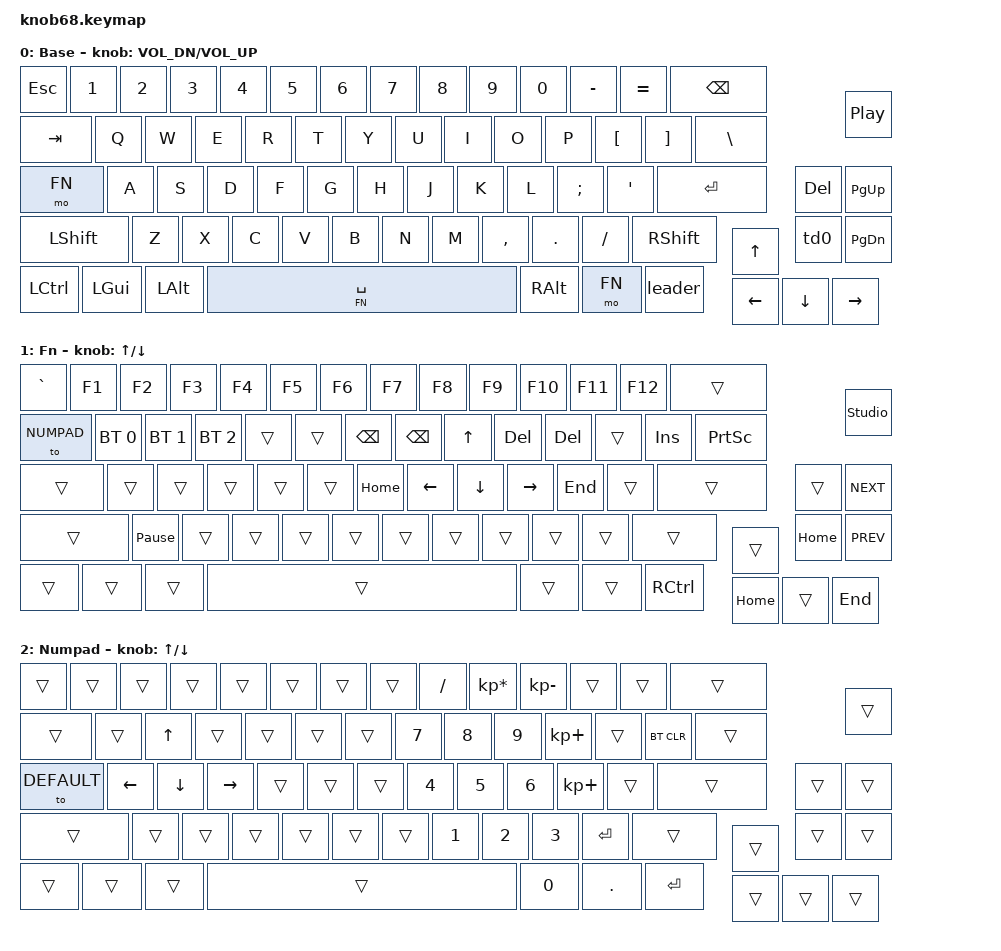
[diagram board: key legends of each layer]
/*
 * Copyright (c) 2020 The ZMK Contributors
 *
 * SPDX-License-Identifier: MIT
 */

#include <behaviors.dtsi>
#include <dt-bindings/zmk/keys.h>
#include <dt-bindings/zmk/bt.h>

#define DEFAULT 0
#define FN      1
#define NUMPAD  2

// SpaceFn: tap space = space, hold space = FN layer. "balanced" decides hold as
// soon as another key is pressed and released; quick-tap keeps space repeating
// on fast double-taps instead of misfiring into the layer.
&lt {
    flavor = "balanced";
    quick-tap-ms = <175>;
};

/ {
    behaviors {
        td0: tap_dance_end_home {
            compatible = "zmk,behavior-tap-dance";
            #binding-cells = <0>;
            tapping-term-ms = <200>;
            bindings = <&kp END>, <&kp HOME>;
        };

        // Leader key (urob/zmk-leader-key module): tap, then type a sequence.
        // RET = presses Enter.
        //   E E   -> types personal email address
        //   E R   -> types work email address
        //   G S   -> git status RET
        //   G C   -> git commit -m "" with the cursor inside the quotes
        //   G P   -> git pull RET
        //   C L   -> claude RET
        //   C C   -> claude --continue RET
        //   R E   -> types "claude --resume" (no Enter, for appending flags)
        //   P L   -> /plan RET
        //   A U   -> /auto RET
        //   T E   -> Win key, "terminal", Enter (opens Windows Terminal)
        //   1 1   -> sudo !! RET
        //   /     -> Ctrl+/ (comment toggle; RCtrl itself is the leader)
        //   RET   -> Ctrl+Enter
        leader: leader {
            compatible = "zmk,behavior-leader-key";
            #binding-cells = <0>;
            emailp   { sequence = <E E>; bindings = <&email_macro>; };
            emailw   { sequence = <E R>; bindings = <&work_email_macro>; };
            gits     { sequence = <G S>; bindings = <&git_status_macro>; };
            gitc     { sequence = <G C>; bindings = <&git_commit_macro>; };
            gitp     { sequence = <G P>; bindings = <&git_pull_macro>; };
            claude   { sequence = <C L>; bindings = <&claude_macro>; };
            continue { sequence = <C C>; bindings = <&claude_continue_macro>; };
            resume   { sequence = <R E>; bindings = <&claude_resume_macro>; };
            plan     { sequence = <P L>; bindings = <&plan_macro>; };
            auto     { sequence = <A U>; bindings = <&auto_macro>; };
            terminal { sequence = <T E>; bindings = <&terminal_macro>; };
            sudobang { sequence = <N1 N1>; bindings = <&sudo_bang_macro>; };
            comment  { sequence = <FSLH>;  bindings = <&kp LC(FSLH)>; };
            ctlret   { sequence = <RET>;   bindings = <&kp LC(RET)>; };
        };
    };

    macros {
        email_macro: email_macro {
            compatible = "zmk,behavior-macro";
            #binding-cells = <0>;
            wait-ms = <0>;
            tap-ms = <5>;
            bindings = <&kp S &kp DOT &kp W &kp H &kp I &kp T &kp E
                        &kp N4 &kp N3 &kp N2 &kp AT
                        &kp G &kp M &kp A &kp I &kp L &kp DOT &kp C &kp O &kp M>;
        };
        work_email_macro: work_email_macro {
            compatible = "zmk,behavior-macro";
            #binding-cells = <0>;
            wait-ms = <0>;
            tap-ms = <5>;
            bindings = <&kp S &kp W &kp H &kp I &kp T &kp E &kp AT
                        &kp A &kp L &kp L &kp E &kp V &kp I &kp A
                        &kp R &kp A &kp D &kp I &kp O &kp L &kp O &kp G &kp Y
                        &kp DOT &kp C &kp O &kp DOT &kp N &kp Z>;
        };
        git_status_macro: git_status_macro {
            compatible = "zmk,behavior-macro";
            #binding-cells = <0>;
            wait-ms = <0>;
            tap-ms = <5>;
            bindings = <&kp G &kp I &kp T &kp SPACE
                        &kp S &kp T &kp A &kp T &kp U &kp S &kp RET>;
        };
        git_commit_macro: git_commit_macro {
            compatible = "zmk,behavior-macro";
            #binding-cells = <0>;
            wait-ms = <0>;
            tap-ms = <5>;
            bindings = <&kp G &kp I &kp T &kp SPACE
                        &kp C &kp O &kp M &kp M &kp I &kp T &kp SPACE
                        &kp MINUS &kp M &kp SPACE
                        &kp DQT &kp DQT &kp LEFT>;
        };
        git_pull_macro: git_pull_macro {
            compatible = "zmk,behavior-macro";
            #binding-cells = <0>;
            wait-ms = <0>;
            tap-ms = <5>;
            bindings = <&kp G &kp I &kp T &kp SPACE
                        &kp P &kp U &kp L &kp L &kp RET>;
        };
        claude_macro: claude_macro {
            compatible = "zmk,behavior-macro";
            #binding-cells = <0>;
            wait-ms = <0>;
            tap-ms = <5>;
            bindings = <&kp C &kp L &kp A &kp U &kp D &kp E &kp RET>;
        };
        claude_continue_macro: claude_continue_macro {
            compatible = "zmk,behavior-macro";
            #binding-cells = <0>;
            wait-ms = <0>;
            tap-ms = <5>;
            bindings = <&kp C &kp L &kp A &kp U &kp D &kp E &kp SPACE
                        &kp MINUS &kp MINUS
                        &kp C &kp O &kp N &kp T &kp I &kp N &kp U &kp E &kp RET>;
        };
        claude_resume_macro: claude_resume_macro {
            compatible = "zmk,behavior-macro";
            #binding-cells = <0>;
            wait-ms = <0>;
            tap-ms = <5>;
            bindings = <&kp C &kp L &kp A &kp U &kp D &kp E &kp SPACE
                        &kp MINUS &kp MINUS
                        &kp R &kp E &kp S &kp U &kp M &kp E>;
        };
        plan_macro: plan_macro {
            compatible = "zmk,behavior-macro";
            #binding-cells = <0>;
            wait-ms = <0>;
            tap-ms = <5>;
            bindings = <&kp FSLH &kp P &kp L &kp A &kp N &kp RET>;
        };
        auto_macro: auto_macro {
            compatible = "zmk,behavior-macro";
            #binding-cells = <0>;
            wait-ms = <0>;
            tap-ms = <5>;
            bindings = <&kp FSLH &kp A &kp U &kp T &kp O &kp RET>;
        };
        terminal_macro: terminal_macro {
            compatible = "zmk,behavior-macro";
            #binding-cells = <0>;
            tap-ms = <5>;
            // Win key, pause for the Start menu, type "terminal", pause for
            // search results, Enter.
            bindings = <&macro_wait_time 400 &kp LGUI
                        &macro_wait_time 10
                        &kp T &kp E &kp R &kp M &kp I &kp N &kp A
                        &macro_wait_time 300 &kp L &kp RET>;
        };
        sudo_bang_macro: sudo_bang_macro {
            compatible = "zmk,behavior-macro";
            #binding-cells = <0>;
            wait-ms = <0>;
            tap-ms = <5>;
            bindings = <&kp S &kp U &kp D &kp O &kp SPACE
                        &kp EXCL &kp EXCL &kp RET>;
        };
    };

    keymap {
        compatible = "zmk,keymap";

// DEFAULT
// Encoder: rotate = volume down/up, press = play/pause
// ------------------------------------------------------------------------------------------------------------
// | ESC   |  1  |  2  |  3  |  4  |  5  |  6  |  7  |  8  |  9  |  0  |  -  |  =  |  BSPC  || KNOB: PLAY/PAUSE
// | TAB    |  Q  |  W  |  E  |  R  |  T  |  Y  |  U  |  I  |  O  |  P  |  [  |  ]  |   \   |
// | FN      |  A  |  S  |  D  |  F  |  G  |  H  |  J  |  K  |  L  |  ;  |  '  |   ENTER   || DEL      | PGUP |
// | LSHIFT    |  Z  |  X  |  C  |  V  |  B  |  N  |  M  |  ,  |  .  |  /  | RSHIFT |  UP  || END/HOME | PGDN |
// | LCTRL | LGUI | LALT |      SPACE (hold = FN)      | RALT |  FN  | LEADER |      LEFT   |   DOWN   | RGHT |
// ------------------------------------------------------------------------------------------------------------

        default_layer {
            display-name = "Base";
            bindings = <
    &kp ESC    &kp N1    &kp N2    &kp N3     &kp N4    &kp N5   &kp N6     &kp N7    &kp N8     &kp N9     &kp N0    &kp MINUS  &kp EQUAL  &kp BSPC  &kp C_PLAY_PAUSE
    &kp TAB    &kp Q     &kp W     &kp E      &kp R     &kp T    &kp Y      &kp U     &kp I      &kp O      &kp P     &kp LBKT   &kp RBKT   &kp BSLH
    &mo FN     &kp A     &kp S     &kp D      &kp F     &kp G    &kp H      &kp J     &kp K      &kp L      &kp SEMI  &kp SQT    &kp RET    &kp DEL   &kp PG_UP
    &kp LSHFT  &kp Z     &kp X     &kp C      &kp V     &kp B    &kp N      &kp M     &kp COMMA  &kp DOT    &kp FSLH  &kp RSHFT  &kp UP     &td0      &kp PG_DN
    &kp LCTRL  &kp LGUI  &kp LALT  &lt FN SPACE  &kp RALT  &mo FN  &leader   &kp LEFT  &kp DOWN   &kp RIGHT
            >;

            sensor-bindings = <&inc_dec_kp C_VOL_DN C_VOL_UP>;
        };

// FN
// Encoder: rotate = up/down arrows, press = ZMK Studio unlock
// ------------------------------------------------------------------------------------------------------------
// |  `    | F1  | F2  | F3  | F4  | F5  | F6  | F7  | F8  | F9  | F10 | F11 | F12 |        || KNOB: UNLOCK
// | NUMPAD | BT0 | BT1 | BT2 |     |     |BSPC |BSPC | UP  | DEL | DEL |     | INS | PRTSC |
// |         |     |     |     |     |     |HOME |LEFT |DOWN |RGHT | END |     |           ||          | NEXT |
// |           |PAUSE|     |     |     |     |     |     |     |     |     |        |      || HOME     | PREV |
// |       |      |      |                             |      |      | RCTRL |       HOME   |          | END  |
// ------------------------------------------------------------------------------------------------------------

        fn_layer {
            display-name = "Fn";
            bindings = <
    &kp GRAVE  &kp F1           &kp F2        &kp F3        &kp F4    &kp F5  &kp F6      &kp F7      &kp F8    &kp F9     &kp F10   &kp F11  &kp F12     &trans    &studio_unlock
    &to NUMPAD &bt BT_SEL 0     &bt BT_SEL 1  &bt BT_SEL 2  &trans    &trans  &kp BSPC    &kp BSPC    &kp UP    &kp DELETE &kp DELETE &trans  &kp INSERT  &kp PRINTSCREEN
    &trans     &trans           &trans        &trans        &trans    &trans  &kp HOME    &kp LEFT    &kp DOWN  &kp RIGHT  &kp END   &trans   &trans      &trans    &kp C_NEXT
    &trans     &kp PAUSE_BREAK  &trans        &trans        &trans    &trans  &trans      &trans      &trans    &trans     &trans    &trans   &trans      &kp HOME  &kp C_PREV
    &trans     &trans           &trans        &trans        &trans    &trans  &kp RCTRL   &kp HOME    &trans    &kp END
            >;

            sensor-bindings = <&inc_dec_kp UP DOWN>;
        };

// NUMPAD (toggled on via FN+TAB, off via the FN/CAPS position)
// Encoder: rotate = up/down arrows, press = (transparent)
// ------------------------------------------------------------------------------------------------------------
// |       |     |     |     |     |     |     |     |  /  |  *  | KP- |     |     |        || KNOB:
// |        |     | UP  |     |     |     |     |  7  |  8  |  9  | KP+ |     |BTCLR|       |
// | DEFAULT |LEFT |DOWN |RGHT |     |     |     |  4  |  5  |  6  | KP+ |     |           ||          |      |
// |           |     |     |     |     |     |     |  1  |  2  |  3  |ENTER|        |      ||          |      |
// |       |      |      |                             |  0   |  .   | ENTER |              |          |      |
// ------------------------------------------------------------------------------------------------------------

        numpad_layer {
            display-name = "Numpad";
            bindings = <
    &trans       &trans    &trans    &trans     &trans  &trans   &trans      &trans  &kp FSLH  &kp KP_MULTIPLY  &kp KP_MINUS  &trans  &trans       &trans  &trans
    &trans       &trans    &kp UP    &trans     &trans  &trans   &trans      &kp N7  &kp N8    &kp N9           &kp KP_PLUS   &trans  &bt BT_CLR   &trans
    &to DEFAULT  &kp LEFT  &kp DOWN  &kp RIGHT  &trans  &trans   &trans      &kp N4  &kp N5    &kp N6           &kp KP_PLUS   &trans  &trans       &trans  &trans
    &trans       &trans    &trans    &trans     &trans  &trans   &trans      &kp N1  &kp N2    &kp N3           &kp ENTER     &trans  &trans       &trans  &trans
    &trans       &trans    &trans    &trans     &kp N0  &kp DOT  &kp ENTER   &trans  &trans    &trans
            >;

            sensor-bindings = <&inc_dec_kp UP DOWN>;
        };

    };
};
